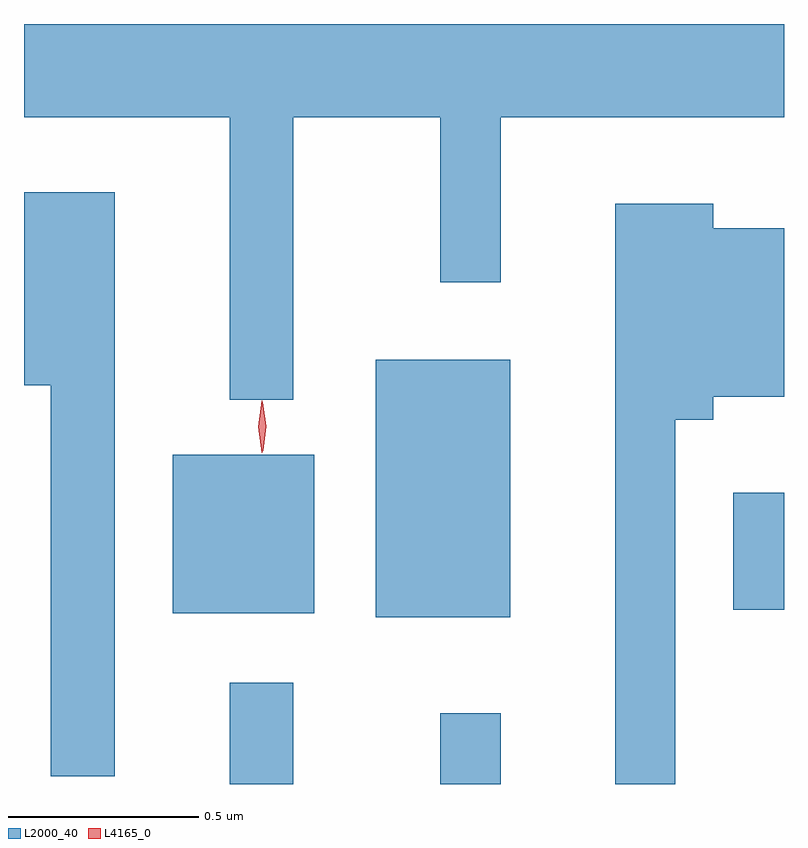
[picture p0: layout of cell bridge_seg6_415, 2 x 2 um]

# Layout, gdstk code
import gdstk
lib = gdstk.Library(unit=1e-6, precision=1e-09)
def R(c, l, rs):  # rectangles x0, y0, x1, y1
    for r in rs: c.add(gdstk.rectangle(r[:2], r[2:], *l))
def P(c, l, *ps):  # polygons
    for p in ps: c.add(gdstk.Polygon(p, *l))
L2000_40 = (2000, 40)
L4165_0 = (4165, 0)

bridge_seg6_415 = lib.new_cell('bridge_seg6_415')
R(bridge_seg6_415, L2000_40, [(1007.811,1623.762,1007.979,1624.028), (1008.366,1623.762,1008.524,1623.948), (1008.196,1624.201,1008.549,1624.879), (1007.661,1624.211,1008.034,1624.629), (1009.136,1624.221,1009.27,1624.529)])
P(bridge_seg6_415, L2000_40, [(1007.979,1625.516),(1008.366,1625.516),(1008.366,1625.083),(1008.524,1625.083),(1008.524,1625.516),(1009.27,1625.516),(1009.27,1625.762),(1007.27,1625.762),(1007.27,1625.516),(1007.811,1625.516),(1007.811,1624.773),(1007.979,1624.773)],
  [(1007.509,1625.319),(1007.27,1625.319),(1007.27,1624.811),(1007.341,1624.811),(1007.341,1623.783),(1007.509,1623.783)],
  [(1008.984,1624.721),(1009.084,1624.721),(1009.084,1624.781),(1009.27,1624.781),(1009.27,1625.224),(1009.084,1625.224),(1009.084,1625.289),(1008.826,1625.289),(1008.826,1623.762),(1008.984,1623.762)])
P(bridge_seg6_415, L4165_0, [(1007.896,1624.634),(1007.887,1624.702),(1007.896,1624.77),(1007.897,1624.77),(1007.897,1624.77),(1007.907,1624.702),(1007.897,1624.634),(1007.897,1624.634)],
  [(1007.898,1624.638),(1007.898,1624.639),(1007.888,1624.703),(1007.897,1624.767),(1007.898,1624.767),(1007.898,1624.767),(1007.908,1624.703),(1007.899,1624.639)])

lib.write_gds('bridge_seg6_415.gds')
